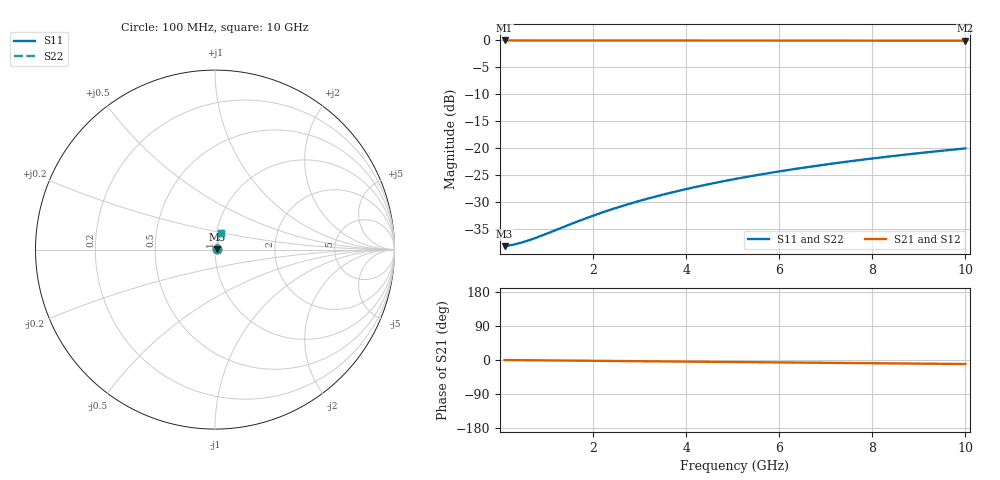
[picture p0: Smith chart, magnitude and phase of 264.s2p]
# Hz S RI R 50.00
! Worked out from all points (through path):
!   100 points, 100 MHz to 10 GHz, reference 50 ohm
!   highest |S21| = -0.11 dB at 100 MHz (marker M1); lowest = -0.2 dB at 10 GHz (marker M2)
!   group delay of S21, straight-line fit = 2.94 ps
!   lowest |S11| = -38.1 dB at 100 MHz (marker M3), VSWR 1.03, Z = 51.3 + j0.0995 ohm
!   |S11| at or under -10 dB: start of sweep to end of sweep
!   |S22| runs from -38.1 to -20.1 dB; largest |S21 - S12| = 0
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1e8  0.0124 0.00097  0.9876 -0.00183  0.9876 -0.00183  0.0124 0.00097
3e8  0.0125 0.00291  0.9875 -0.00549  0.9875 -0.00549  0.0125 0.00291
4e8  0.0126 0.00388  0.9874 -0.00732  0.9874 -0.00732  0.0126 0.00388
5e8  0.0126 0.00485  0.9874 -0.00915  0.9874 -0.00915  0.0126 0.00485
7e8  0.0127 0.00679  0.9872 -0.0128  0.9872 -0.0128  0.0127 0.00679
9e8  0.0128 0.00872  0.9871 -0.0165  0.9871 -0.0165  0.0128 0.00872
1.5e9  0.0132 0.0145  0.9867 -0.0274  0.9867 -0.0274  0.0132 0.0145
1.8e9  0.0135 0.0174  0.9864 -0.0329  0.9864 -0.0329  0.0135 0.0174
2.2e9  0.0138 0.0213  0.986 -0.0402  0.986 -0.0402  0.0138 0.0213
2.6e9  0.0142 0.0251  0.9855 -0.0475  0.9855 -0.0475  0.0142 0.0251
3e9  0.0147 0.029  0.985 -0.0548  0.985 -0.0548  0.0147 0.029
3.4e9  0.0152 0.0328  0.9844 -0.0621  0.9844 -0.0621  0.0152 0.0328
3.8e9  0.0157 0.0366  0.9837 -0.0694  0.9837 -0.0694  0.0157 0.0366
4.2e9  0.0163 0.0405  0.983 -0.0766  0.983 -0.0766  0.0163 0.0405
4.6e9  0.017 0.0443  0.9822 -0.0839  0.9822 -0.0839  0.017 0.0443
5.1e9  0.0179 0.049  0.9811 -0.093  0.9811 -0.093  0.0179 0.049
5.9e9  0.0195 0.0566  0.9791 -0.1074  0.9791 -0.1074  0.0195 0.0566
6.7e9  0.0214 0.0641  0.9769 -0.1218  0.9769 -0.1218  0.0214 0.0641
7.5e9  0.0235 0.0715  0.9744 -0.1361  0.9744 -0.1361  0.0235 0.0715
8.4e9  0.0261 0.0798  0.9712 -0.1521  0.9712 -0.1521  0.0261 0.0798
9.2e9  0.0286 0.087  0.9682 -0.1663  0.9682 -0.1663  0.0286 0.087
1e10  0.0313 0.0942  0.9649 -0.1804  0.9649 -0.1804  0.0313 0.0942
